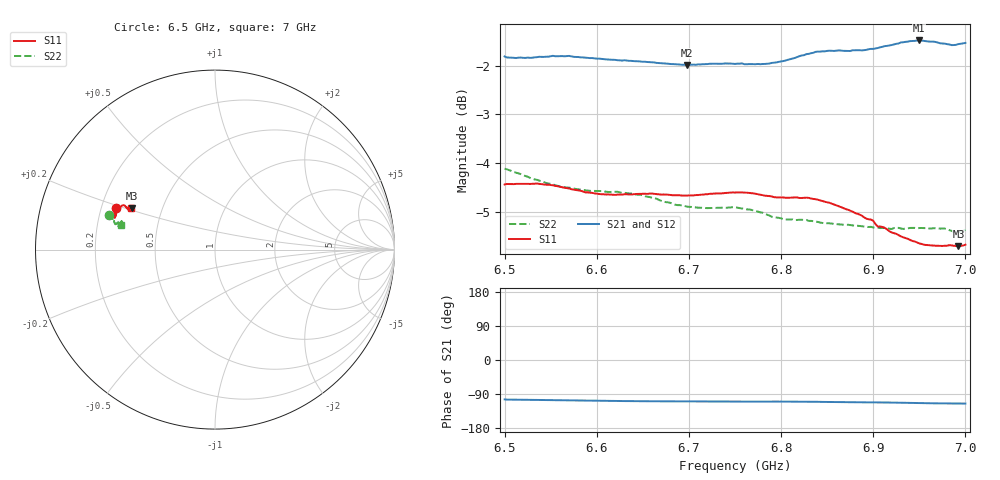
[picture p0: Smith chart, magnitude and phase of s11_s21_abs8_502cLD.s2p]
! MS46122B
! 1919307/90821646
! 7/29/2022 2:27:37 PM
! C:\USERS\PC_\DESKTOP\MEDICIONES\BANCHA ESTRECHA\65_7GHZ\S11_S21_ABS8_502CL.S2P
! CHANNEL.1
! TR.MEASUREMENT
! CORRECTED.DATA
# GHZ S RI R 50.0
! FREQ.GHZ  S11RE  S11IM  S21RE  S21IM  S12RE  S12IM  S22RE  S22IM
!; PortSelection: Port_12
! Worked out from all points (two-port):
!   201 points, 6.5 GHz to 7 GHz, reference 50 ohm
!   highest |S21| = -1.48 dB at 6.95 GHz (marker M1); lowest = -2.0 dB at 6.697 GHz (marker M2)
!   |S21| within 3 dB of the highest: start of sweep to end of sweep
!   lowest |S11| = -5.7 dB at 6.992 GHz (marker M3), VSWR 3.16, Z = 16.6 + j10.5 ohm
!   |S11| at or under -10 dB: nowhere
!   |S22| runs from -5.4 to -4.1 dB; largest |S21 - S12| = 0.013
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6.5  -0.5536 0.2316  -0.1966 -0.7877  -0.1925 -0.7854  -0.5925 0.1921
6.5025  -0.5566 0.2262  -0.2023 -0.7843  -0.1938 -0.785  -0.592 0.1908
6.5075  -0.5579 0.2225  -0.204 -0.7834  -0.1946 -0.7845  -0.5901 0.1885
6.5475  -0.5628 0.2075  -0.2201 -0.781  -0.2087 -0.7853  -0.5765 0.1715
6.585  -0.5569 0.1959  -0.2398 -0.7737  -0.2322 -0.7806  -0.5662 0.1747
6.6225  -0.5566 0.1832  -0.2514 -0.7643  -0.247 -0.7696  -0.5635 0.1745
6.6675  -0.5585 0.1786  -0.261 -0.7554  -0.2576 -0.7598  -0.5594 0.1477
6.6975  -0.5524 0.1913  -0.2621 -0.7513  -0.2608 -0.7562  -0.5519 0.141
6.725  -0.5484 0.2095  -0.2666 -0.7522  -0.2653 -0.7554  -0.5472 0.1519
6.75  -0.547 0.2179  -0.2706 -0.7503  -0.2697 -0.753  -0.5449 0.1622
6.7775  -0.5445 0.2156  -0.2701 -0.7499  -0.2703 -0.7496  -0.5405 0.1535
6.7975  -0.5426 0.2107  -0.2702 -0.7546  -0.2686 -0.7537  -0.5375 0.137
6.815  -0.5404 0.2165  -0.2728 -0.7616  -0.2715 -0.7603  -0.5363 0.129
6.835  -0.5317 0.2316  -0.282 -0.7688  -0.2815 -0.7671  -0.5335 0.1349
6.8525  -0.5202 0.2443  -0.2929 -0.769  -0.2924 -0.7671  -0.5279 0.1453
6.8725  -0.5084 0.2475  -0.3012 -0.7654  -0.3002 -0.762  -0.5231 0.1553
6.8975  -0.4982 0.2387  -0.307 -0.7673  -0.3045 -0.7613  -0.5194 0.1584
6.9175  -0.4869 0.2275  -0.3155 -0.7711  -0.3107 -0.7652  -0.5194 0.15
6.95  -0.4726 0.222  -0.3379 -0.7724  -0.3284 -0.7672  -0.523 0.1403
6.9725  -0.4666 0.2276  -0.3485 -0.7615  -0.3405 -0.7601  -0.5221 0.1406
6.9925  -0.4644 0.2312  -0.3507 -0.7588  -0.3422 -0.7556  -0.5183 0.1392
7  -0.467 0.2299  -0.3536 -0.7599  -0.346 -0.7558  -0.5211 0.1382
